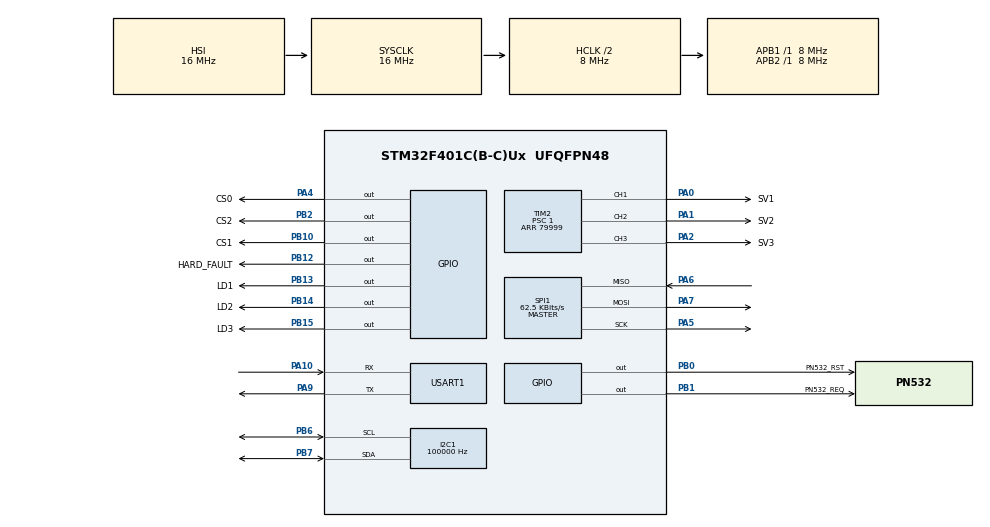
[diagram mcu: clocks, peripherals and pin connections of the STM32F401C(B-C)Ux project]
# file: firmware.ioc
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I2C1.ClockSpeed=100000
I2C1.I2C_Mode=I2C_Standard
I2C1.OwnAddress=0x48
Mcu.Family=STM32F4
Mcu.Name=STM32F401C(B-C)Ux
Mcu.Package=UFQFPN48
NVIC.PriorityGroup=NVIC_PRIORITYGROUP_4
PA0-WKUP.GPIO_Label=SV1
PA0-WKUP.Signal=S_TIM2_CH1_ETR
PA1.GPIO_Label=SV2
PA1.Signal=S_TIM2_CH2
PA10.GPIO_PuPd=GPIO_PULLDOWN
PA10.GPIO_Speed=GPIO_SPEED_FREQ_HIGH
PA10.Mode=Asynchronous
PA10.Signal=USART1_RX
PA13.Mode=Trace_Asynchronous_SW
PA13.Signal=SYS_JTMS-SWDIO
PA14.Mode=Trace_Asynchronous_SW
PA14.Signal=SYS_JTCK-SWCLK
PA2.GPIO_Label=SV3
PA2.Signal=S_TIM2_CH3
PA4.GPIO_Label=CS0
PA4.GPIO_PuPd=GPIO_NOPULL
PA4.GPIO_Speed=GPIO_SPEED_FREQ_LOW
PA4.PinState=GPIO_PIN_SET
PA4.Signal=GPIO_Output
PA5.GPIO_Speed=GPIO_SPEED_FREQ_HIGH
PA5.Mode=Full_Duplex_Master
PA5.Signal=SPI1_SCK
PA6.GPIO_PuPd=GPIO_NOPULL
PA6.GPIO_Speed=GPIO_SPEED_FREQ_HIGH
PA6.Mode=Full_Duplex_Master
PA6.Signal=SPI1_MISO
PA7.GPIO_Speed=GPIO_SPEED_FREQ_HIGH
PA7.Mode=Full_Duplex_Master
PA7.Signal=SPI1_MOSI
PA9.GPIO_Speed=GPIO_SPEED_FREQ_HIGH
PA9.Mode=Asynchronous
PA9.Signal=USART1_TX
PB0.GPIO_Label=PN532_RST
PB0.GPIO_PuPd=GPIO_PULLUP
PB0.GPIO_Speed=GPIO_SPEED_FREQ_LOW
PB0.PinState=GPIO_PIN_RESET
PB0.Signal=GPIO_Output
PB1.GPIO_Label=PN532_REQ
PB1.GPIO_PuPd=GPIO_PULLUP
PB1.GPIO_Speed=GPIO_SPEED_FREQ_LOW
PB1.PinState=GPIO_PIN_RESET
PB1.Signal=GPIO_Output
PB10.GPIO_Label=CS1
PB10.GPIO_PuPd=GPIO_NOPULL
PB10.PinState=GPIO_PIN_SET
PB10.Signal=GPIO_Output
PB12.GPIO_Label=HARD_FAULT
PB12.GPIO_PuPd=GPIO_PULLUP
PB12.Signal=GPIO_Output
PB13.GPIO_Label=LD1
PB13.GPIO_PuPd=GPIO_PULLUP
PB13.PinState=GPIO_PIN_SET
PB13.Signal=GPIO_Output
PB14.GPIO_Label=LD2
PB14.GPIO_PuPd=GPIO_PULLUP
PB14.PinState=GPIO_PIN_SET
PB14.Signal=GPIO_Output
PB15.GPIO_Label=LD3
PB15.GPIO_PuPd=GPIO_PULLUP
PB15.PinState=GPIO_PIN_SET
PB15.Signal=GPIO_Output
PB2.GPIO_Label=CS2
PB2.GPIO_PuPd=GPIO_NOPULL
PB2.GPIO_Speed=GPIO_SPEED_FREQ_LOW
PB2.PinState=GPIO_PIN_SET
PB2.Signal=GPIO_Output
PB3.Mode=Trace_Asynchronous_SW
PB3.Signal=SYS_JTDO-SWO
PB6.GPIO_Pu=GPIO_NOPULL
PB6.GPIO_Speed=GPIO_SPEED_FREQ_HIGH
PB6.Mode=I2C
PB6.Signal=I2C1_SCL
PB7.GPIO_Pu=GPIO_NOPULL
PB7.GPIO_Speed=GPIO_SPEED_FREQ_HIGH
PB7.Mode=I2C
PB7.Signal=I2C1_SDA
ProjectManager.HeapSize=0x200
ProjectManager.StackSize=0x4000
ProjectManager.TargetToolchain=STM32CubeIDE
RCC.48MHZClocksFreq_Value=42000000
RCC.AHBCLKDivider=RCC_SYSCLK_DIV2
RCC.AHBFreq_Value=8000000
RCC.APB1Freq_Value=8000000
RCC.APB1TimFreq_Value=8000000
RCC.APB2Freq_Value=8000000
RCC.APB2TimFreq_Value=8000000
RCC.CortexFreq_Value=8000000
RCC.HCLKFreq_Value=8000000
RCC.HSE_VALUE=25000000
RCC.HSI_VALUE=16000000
RCC.LSE_VALUE=32768
RCC.PLLN=168
RCC.SYSCLKFreq_VALUE=16000000
RCC.VCOOutputFreq_Value=168000000
SH.S_TIM2_CH1_ETR.0=TIM2_CH1,PWM Generation1 CH1
SH.S_TIM2_CH2.0=TIM2_CH2,PWM Generation2 CH2
SH.S_TIM2_CH3.0=TIM2_CH3,PWM Generation3 CH3
SPI1.BaudRatePrescaler=SPI_BAUDRATEPRESCALER_128
SPI1.CalculateBaudRate=62.5 KBits/s
SPI1.Direction=SPI_DIRECTION_2LINES
SPI1.FirstBit=SPI_FIRSTBIT_LSB
SPI1.Mode=SPI_MODE_MASTER
SPI1.VirtualType=VM_MASTER
TIM2.AutoReloadPreload=TIM_AUTORELOAD_PRELOAD_ENABLE
TIM2.Channel-PWM\ Generation1\ CH1=TIM_CHANNEL_1
TIM2.Channel-PWM\ Generation2\ CH2=TIM_CHANNEL_2
TIM2.Channel-PWM\ Generation3\ CH3=TIM_CHANNEL_3
TIM2.ClockDivision=TIM_CLOCKDIVISION_DIV1
TIM2.Period=79999
TIM2.Prescaler=1
USART1.VirtualMode=VM_ASYNC
VP_TIM2_VS_ClockSourceINT.Mode=Internal
board=custom

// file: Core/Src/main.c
/* USER CODE BEGIN Header */
/**
 ******************************************************************************
 * @file           : main.c
 * @brief          : Main program body
 ******************************************************************************
 * @attention
 *
 * Copyright (c) 2026 STMicroelectronics.
 * All rights reserved.
 *
 * This software is licensed under terms that can be found in the LICENSE file
 * in the root directory of this software component.
 * If no LICENSE file comes with this software, it is provided AS-IS.
 *
 ******************************************************************************
 */
/* USER CODE END Header */
#include "main.h"

/* USER CODE BEGIN Includes */
#include <stdio.h>
#include <../../Drivers/PN532/pn532.h>
#include "../../Drivers/PN532/pn532_stm32f1.h"
#include "../Application/app_rfid.h"
/* USER CODE END Includes */

I2C_HandleTypeDef hi2c1;

SPI_HandleTypeDef hspi1;

TIM_HandleTypeDef htim2;

UART_HandleTypeDef huart1;

/* USER CODE BEGIN PV */
s_Locker lockers[PN532_MAX_INSTANCES];
/* USER CODE END PV */

void SystemClock_Config(void);
static void MX_GPIO_Init(void);
static void MX_I2C1_Init(void);
static void MX_SPI1_Init(void);
static void MX_USART1_UART_Init(void);
static void MX_TIM2_Init(void);
/* USER CODE BEGIN PFP */
void ITM_Init(void);
/* USER CODE END PFP */

int main(void)
{

  /* MCU Configuration--------------------------------------------------------*/

  /* Reset of all peripherals, Initializes the Flash interface and the Systick. */
  HAL_Init();

  /* Configure the system clock */
  SystemClock_Config();

  /* Initialize all configured peripherals */
  MX_GPIO_Init();
  MX_I2C1_Init();
  MX_SPI1_Init();
  MX_USART1_UART_Init();
  MX_TIM2_Init();
  /* USER CODE BEGIN 2 */
	ITM_Init();

	printf(" Debugging Works\n");

	printf("Hello!\r\n");

	// PN532_SPI_Init(&pn532);
	for (uint8_t i = 0; i < PN532_MAX_INSTANCES; i++)
	{
		lockers[i].index = i;
		lockers[i].locker_state = LOCKER_INIT;
		lockers[i].assigned = false;

	}

	printf("Waiting for RFID/NFC card...\r\n");
  /* USER CODE END 2 */

  /* Infinite loop */
	while (1) {

    /* USER CODE BEGIN 3 */

		for(uint8_t idx = 0; idx < PN532_MAX_INSTANCES; idx++)
		{
			rfid_FSM(&lockers[idx]);
		}

	}
  /* USER CODE END 3 */
}

void SystemClock_Config(void)
{
  RCC_OscInitTypeDef RCC_OscInitStruct = {0};
  RCC_ClkInitTypeDef RCC_ClkInitStruct = {0};

  /** Configure the main internal regulator output voltage
  */
  __HAL_RCC_PWR_CLK_ENABLE();
  __HAL_PWR_VOLTAGESCALING_CONFIG(PWR_REGULATOR_VOLTAGE_SCALE2);

  /** Initializes the RCC Oscillators according to the specified parameters
  * in the RCC_OscInitTypeDef structure.
  */
  RCC_OscInitStruct.OscillatorType = RCC_OSCILLATORTYPE_HSI;
  RCC_OscInitStruct.HSIState = RCC_HSI_ON;
  RCC_OscInitStruct.HSICalibrationValue = RCC_HSICALIBRATION_DEFAULT;
  RCC_OscInitStruct.PLL.PLLState = RCC_PLL_NONE;
  if (HAL_RCC_OscConfig(&RCC_OscInitStruct) != HAL_OK)
  {
    Error_Handler();
  }

  /** Initializes the CPU, AHB and APB buses clocks
  */
  RCC_ClkInitStruct.ClockType = RCC_CLOCKTYPE_HCLK|RCC_CLOCKTYPE_SYSCLK
                              |RCC_CLOCKTYPE_PCLK1|RCC_CLOCKTYPE_PCLK2;
  RCC_ClkInitStruct.SYSCLKSource = RCC_SYSCLKSOURCE_HSI;
  RCC_ClkInitStruct.AHBCLKDivider = RCC_SYSCLK_DIV2;
  RCC_ClkInitStruct.APB1CLKDivider = RCC_HCLK_DIV1;
  RCC_ClkInitStruct.APB2CLKDivider = RCC_HCLK_DIV1;

  if (HAL_RCC_ClockConfig(&RCC_ClkInitStruct, FLASH_LATENCY_0) != HAL_OK)
  {
    Error_Handler();
  }
}

static void MX_I2C1_Init(void)
{

  hi2c1.Instance = I2C1;
  hi2c1.Init.ClockSpeed = 100000;
  hi2c1.Init.DutyCycle = I2C_DUTYCYCLE_2;
  hi2c1.Init.OwnAddress1 = 144;
  hi2c1.Init.AddressingMode = I2C_ADDRESSINGMODE_7BIT;
  hi2c1.Init.DualAddressMode = I2C_DUALADDRESS_DISABLE;
  hi2c1.Init.OwnAddress2 = 0;
  hi2c1.Init.GeneralCallMode = I2C_GENERALCALL_DISABLE;
  hi2c1.Init.NoStretchMode = I2C_NOSTRETCH_DISABLE;
  if (HAL_I2C_Init(&hi2c1) != HAL_OK)
  {
    Error_Handler();
  }

}

static void MX_SPI1_Init(void)
{

  /* SPI1 parameter configuration*/
  hspi1.Instance = SPI1;
  hspi1.Init.Mode = SPI_MODE_MASTER;
  hspi1.Init.Direction = SPI_DIRECTION_2LINES;
  hspi1.Init.DataSize = SPI_DATASIZE_8BIT;
  hspi1.Init.CLKPolarity = SPI_POLARITY_LOW;
  hspi1.Init.CLKPhase = SPI_PHASE_1EDGE;
  hspi1.Init.NSS = SPI_NSS_SOFT;
  hspi1.Init.BaudRatePrescaler = SPI_BAUDRATEPRESCALER_128;
  hspi1.Init.FirstBit = SPI_FIRSTBIT_LSB;
  hspi1.Init.TIMode = SPI_TIMODE_DISABLE;
  hspi1.Init.CRCCalculation = SPI_CRCCALCULATION_DISABLE;
  hspi1.Init.CRCPolynomial = 10;
  if (HAL_SPI_Init(&hspi1) != HAL_OK)
  {
    Error_Handler();
  }

}

static void MX_TIM2_Init(void)
{

  TIM_ClockConfigTypeDef sClockSourceConfig = {0};
  TIM_MasterConfigTypeDef sMasterConfig = {0};
  TIM_OC_InitTypeDef sConfigOC = {0};

  htim2.Instance = TIM2;
  htim2.Init.Prescaler = 1;
  htim2.Init.CounterMode = TIM_COUNTERMODE_UP;
  htim2.Init.Period = 79999;
  htim2.Init.ClockDivision = TIM_CLOCKDIVISION_DIV1;
  htim2.Init.AutoReloadPreload = TIM_AUTORELOAD_PRELOAD_ENABLE;
  if (HAL_TIM_Base_Init(&htim2) != HAL_OK)
  {
    Error_Handler();
  }
  sClockSourceConfig.ClockSource = TIM_CLOCKSOURCE_INTERNAL;
  if (HAL_TIM_ConfigClockSource(&htim2, &sClockSourceConfig) != HAL_OK)
  {
    Error_Handler();
  }
  if (HAL_TIM_PWM_Init(&htim2) != HAL_OK)
  {
    Error_Handler();
  }
  sMasterConfig.MasterOutputTrigger = TIM_TRGO_RESET;
  sMasterConfig.MasterSlaveMode = TIM_MASTERSLAVEMODE_DISABLE;
  if (HAL_TIMEx_MasterConfigSynchronization(&htim2, &sMasterConfig) != HAL_OK)
  {
    Error_Handler();
  }
  sConfigOC.OCMode = TIM_OCMODE_PWM1;
  sConfigOC.Pulse = 0;
  sConfigOC.OCPolarity = TIM_OCPOLARITY_HIGH;
  sConfigOC.OCFastMode = TIM_OCFAST_DISABLE;
  if (HAL_TIM_PWM_ConfigChannel(&htim2, &sConfigOC, TIM_CHANNEL_1) != HAL_OK)
  {
    Error_Handler();
  }
  if (HAL_TIM_PWM_ConfigChannel(&htim2, &sConfigOC, TIM_CHANNEL_2) != HAL_OK)
  {
    Error_Handler();
  }
  if (HAL_TIM_PWM_ConfigChannel(&htim2, &sConfigOC, TIM_CHANNEL_3) != HAL_OK)
  {
    Error_Handler();
  }
  HAL_TIM_MspPostInit(&htim2);

}

static void MX_USART1_UART_Init(void)
{

  huart1.Instance = USART1;
  huart1.Init.BaudRate = 115200;
  huart1.Init.WordLength = UART_WORDLENGTH_8B;
  huart1.Init.StopBits = UART_STOPBITS_1;
  huart1.Init.Parity = UART_PARITY_NONE;
  huart1.Init.Mode = UART_MODE_TX_RX;
  huart1.Init.HwFlowCtl = UART_HWCONTROL_NONE;
  huart1.Init.OverSampling = UART_OVERSAMPLING_16;
  if (HAL_UART_Init(&huart1) != HAL_OK)
  {
    Error_Handler();
  }

}

static void MX_GPIO_Init(void)
{
  GPIO_InitTypeDef GPIO_InitStruct = {0};

  /* GPIO Ports Clock Enable */
  __HAL_RCC_GPIOA_CLK_ENABLE();
  __HAL_RCC_GPIOB_CLK_ENABLE();

  /*Configure GPIO pin Output Level */
  HAL_GPIO_WritePin(CS0_GPIO_Port, CS0_Pin, GPIO_PIN_SET);

  /*Configure GPIO pin Output Level */
  HAL_GPIO_WritePin(GPIOB, PN532_RST_Pin|PN532_REQ_Pin|HARD_FAULT_Pin, GPIO_PIN_RESET);

  /*Configure GPIO pin Output Level */
  HAL_GPIO_WritePin(GPIOB, CS2_Pin|CS1_Pin|LD1_Pin|LD2_Pin
                          |LD3_Pin, GPIO_PIN_SET);

  /*Configure GPIO pin : CS0_Pin */
  GPIO_InitStruct.Pin = CS0_Pin;
  GPIO_InitStruct.Mode = GPIO_MODE_OUTPUT_PP;
  GPIO_InitStruct.Pull = GPIO_NOPULL;
  GPIO_InitStruct.Speed = GPIO_SPEED_FREQ_LOW;
  HAL_GPIO_Init(CS0_GPIO_Port, &GPIO_InitStruct);

  /*Configure GPIO pins : PN532_RST_Pin PN532_REQ_Pin HARD_FAULT_Pin LD1_Pin
                           LD2_Pin LD3_Pin */
  GPIO_InitStruct.Pin = PN532_RST_Pin|PN532_REQ_Pin|HARD_FAULT_Pin|LD1_Pin
                          |LD2_Pin|LD3_Pin;
  GPIO_InitStruct.Mode = GPIO_MODE_OUTPUT_PP;
  GPIO_InitStruct.Pull = GPIO_PULLUP;
  GPIO_InitStruct.Speed = GPIO_SPEED_FREQ_LOW;
  HAL_GPIO_Init(GPIOB, &GPIO_InitStruct);

  /*Configure GPIO pins : CS2_Pin CS1_Pin */
  GPIO_InitStruct.Pin = CS2_Pin|CS1_Pin;
  GPIO_InitStruct.Mode = GPIO_MODE_OUTPUT_PP;
  GPIO_InitStruct.Pull = GPIO_NOPULL;
  GPIO_InitStruct.Speed = GPIO_SPEED_FREQ_LOW;
  HAL_GPIO_Init(GPIOB, &GPIO_InitStruct);

}

/* USER CODE BEGIN 4 */
void ITM_Init(void) {
	CoreDebug->DEMCR |= CoreDebug_DEMCR_TRCENA_Msk; // Enable trace
	DBGMCU->CR |= DBGMCU_CR_TRACE_IOEN;             // Enable IO trace

	ITM->TER |= (1UL << 0);
	ITM->LAR = 0xC5ACCE55;                           // Unlock ITM
	ITM->TCR = ITM_TCR_ITMENA_Msk | (1 << ITM_TCR_TraceBusID_Pos);
}

int _write(int file, char *ptr, int len) {
	for (int i = 0; i < len; i++) {
		ITM_SendChar(ptr[i]);
	}
	return len;
}
/* USER CODE END 4 */

void Error_Handler(void)
{
	__disable_irq();
	while (1) {
	}
}
